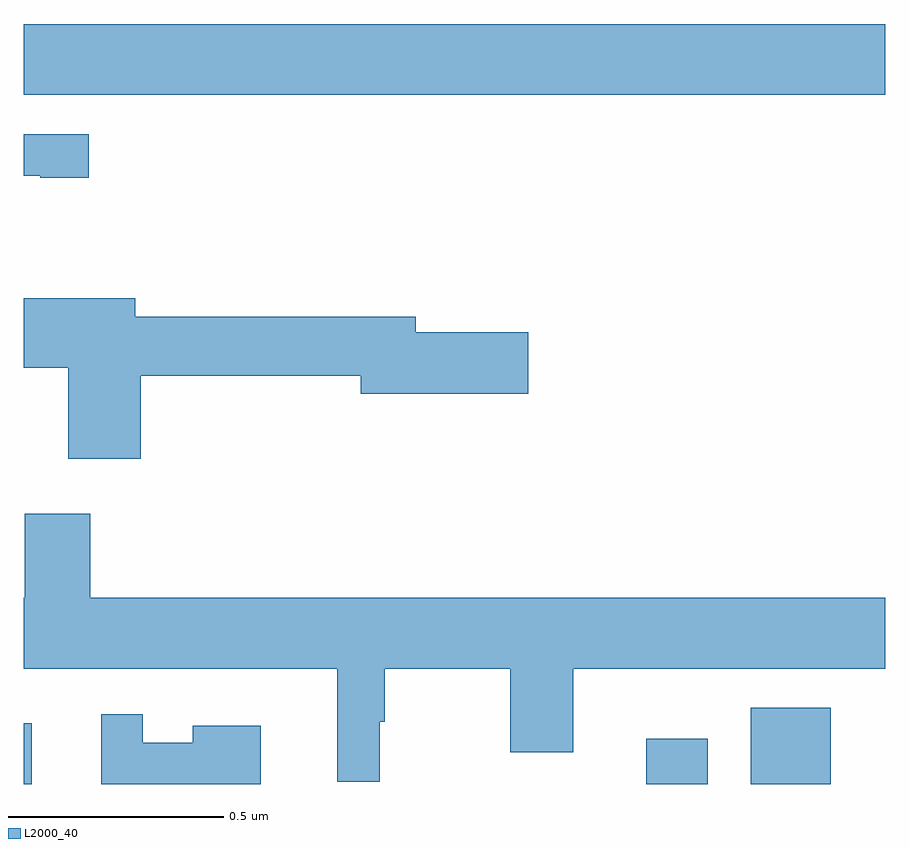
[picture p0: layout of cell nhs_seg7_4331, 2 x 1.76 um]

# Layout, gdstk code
import gdstk
lib = gdstk.Library(unit=1e-6, precision=1e-09)
def R(c, l, rs):  # rectangles x0, y0, x1, y1
    for r in rs: c.add(gdstk.rectangle(r[:2], r[2:], *l))
def P(c, l, *ps):  # polygons
    for p in ps: c.add(gdstk.Polygon(p, *l))
L2000_40 = (2000, 40)

nhs_seg7_4331 = lib.new_cell('nhs_seg7_4331')
R(nhs_seg7_4331, L2000_40, [(171,1015,171.019,1015.141), (172.445,1015,172.588,1015.105), (172.688,1015,172.873,1015.177), (171,1016.6,173,1016.764)])
P(nhs_seg7_4331, L2000_40, [(171.151,1016.508),(171,1016.508),(171,1016.412),(171.038,1016.412),(171.038,1016.407),(171.151,1016.407)],
  [(171.272,1015.948),(171.782,1015.948),(171.782,1015.906),(172.171,1015.906),(172.171,1016.048),(171.91,1016.048),(171.91,1016.084),(171.259,1016.084),(171.259,1016.128),(171,1016.128),(171,1015.966),(171.104,1015.966),(171.104,1015.755),(171.272,1015.755)],
  [(171.827,1015.145),(171.838,1015.145),(171.838,1015.268),(172.129,1015.268),(172.129,1015.074),(172.276,1015.074),(172.276,1015.268),(173,1015.268),(173,1015.432),(171.155,1015.432),(171.155,1015.627),(171.002,1015.627),(171.002,1015.432),(171,1015.432),(171,1015.268),(171.728,1015.268),(171.728,1015.005),(171.827,1015.005)],
  [(171.55,1015.135),(171.392,1015.135),(171.392,1015.096),(171.276,1015.096),(171.276,1015.162),(171.18,1015.162),(171.18,1015),(171.55,1015)])

lib.write_gds('nhs_seg7_4331.gds')
